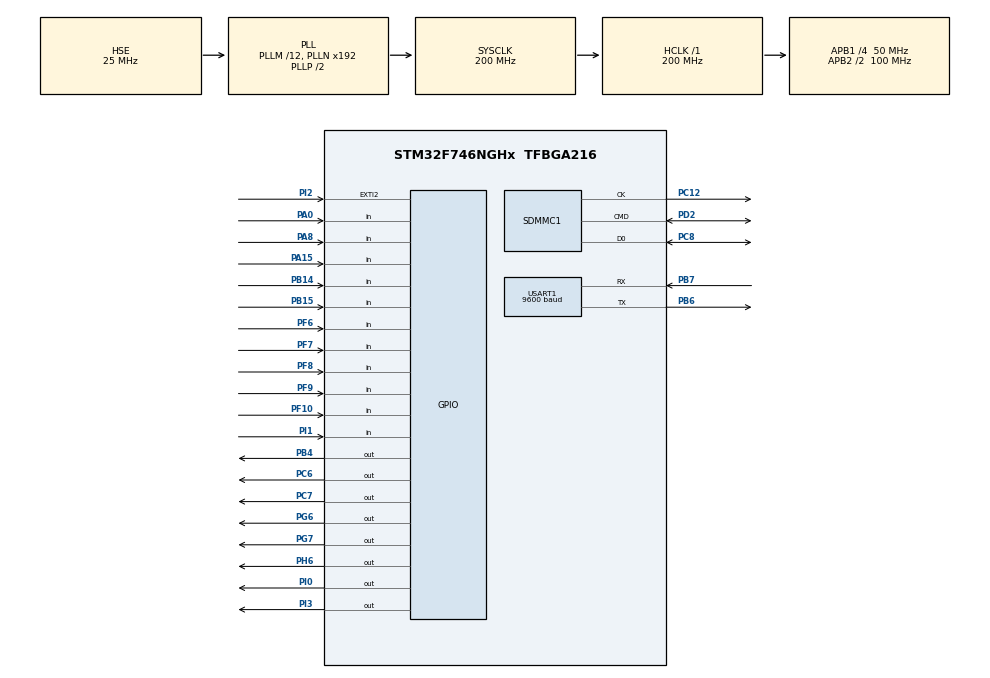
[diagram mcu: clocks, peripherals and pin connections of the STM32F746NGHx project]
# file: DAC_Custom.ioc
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Mcu.Family=STM32F7
RCC.CortexFreq_Value=200000000
FATFS._USE_LFN=2
PG6.Signal=GPIO_Output
VP_FATFS_VS_SDIO.Mode=SDIO
USART1.BaudRate=9600
PC12.Signal=SDMMC1_CK
CORTEX_M7.PREFETCH_ENABLE=1
PA0/WKUP.Signal=GPIO_Input
PB15.Signal=GPIO_Input
RCC.SYSCLKSource=RCC_SYSCLKSOURCE_PLLCLK
ProjectManager.StackSize=0x400
PF7.Signal=GPIO_Input
RCC.PLL48CLockSelection=RCC_CLK48SOURCE_PLLSAIP
PH0/OSC_IN.Mode=HSE-External-Oscillator
RCC.HCLKFreq_Value=200000000
RCC.APB2TimFreq_Value=200000000
PB6.Signal=USART1_TX
PC7.Signal=GPIO_Output
PB6.Mode=Asynchronous
PH1/OSC_OUT.Signal=RCC_OSC_OUT
RCC.AHBFreq_Value=200000000
RCC.HSE_VALUE=25000000
PA14.Mode=Serial_Wire
PI0.Signal=GPIO_Output
PI3.Signal=GPIO_Output
NVIC.TIM2_IRQn=true\:0\:0\:false\:false\:true\:true\:true
PB7.Signal=USART1_RX
PA8.Signal=GPIO_Input
PH1/OSC_OUT.Mode=HSE-External-Oscillator
Mcu.Package=TFBGA216
RCC.SDMMCClockSelection=RCC_SDMMC1CLKSOURCE_CLK48
TIM2.Prescaler=100
PA15.Signal=GPIO_Input
PF8.Signal=GPIO_Input
RCC.PLLSAIN=50
RCC.PLLSAIP=RCC_PLLSAIP_DIV4
RCC.PLLSAIR=5
TIM2.TIM_MasterOutputTrigger=TIM_TRGO_UPDATE
RCC.APB2CLKDivider=RCC_HCLK_DIV2
NVIC.EXTI2_IRQn=true\:0\:0\:false\:false\:true\:true\:true
RCC.APB1TimFreq_Value=100000000
NVIC.RCC_IRQn=true\:0\:0\:false\:false\:true\:true\:false
PB4.Signal=GPIO_Output
RCC.PLLSourceVirtual=RCC_PLLSOURCE_HSE
CORTEX_M7.CPU_ICache=Enabled
PG7.Signal=GPIO_Output
PC8.Signal=SDMMC1_D0
PC6.Signal=GPIO_Output
RCC.APB1CLKDivider=RCC_HCLK_DIV4
RCC.PLLSAIRDiv=RCC_PLLSAIDIVR_8
USART1.VirtualMode-Asynchronous=VM_ASYNC
PA13.Signal=SYS_JTMS-SWDIO
PF6.Signal=GPIO_Input
ProjectManager.TargetToolchain=STM32CubeIDE
CORTEX_M7.ART_ACCLERATOR_ENABLE=1
RCC.USBFreq_Value=26041666.666666664
RCC.LSE_VALUE=32768
PD2.Mode=SD_1_bit
PB14.Signal=GPIO_Input
PC12.Mode=SD_1_bit
board=STM32F746G-DISCO
RCC.VCOOutputFreq_Value=400000000
PH0/OSC_IN.Signal=RCC_OSC_IN
RCC.APB2Freq_Value=100000000
VP_TIM2_VS_ClockSourceINT.Mode=Internal
PF10.Signal=GPIO_Input
PI1.Signal=GPIO_Input
PI2.Signal=GPXTI2
TIM2.Period=124
PA13.Mode=Serial_Wire
Mcu.Name=STM32F746NGHx
PC8.Mode=SD_1_bit
RCC.SYSCLKFreq_VALUE=200000000
PB7.Mode=Asynchronous
PA14.Signal=SYS_JTCK-SWCLK
ProjectManager.HeapSize=0x200
PH6.Signal=GPIO_Output
RCC.HSI_VALUE=16000000
PF9.Signal=GPIO_Input
RCC.PLLQ=9
NVIC.PriorityGroup=NVIC_PRIORITYGROUP_4
RCC.PLLM=12
CORTEX_M7.CPU_DCache=Enabled
PD2.Signal=SDMMC1_CMD
RCC.APB1Freq_Value=50000000
RCC.PLLI2SN=100

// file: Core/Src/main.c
/* USER CODE BEGIN Header */
/**
  ******************************************************************************
  * @file           : main.c
  * @brief          : Main program body
  ******************************************************************************
  * @attention
  *
  * <h2><center>&copy; Copyright (c) 2021 STMicroelectronics.
  * All rights reserved.</center></h2>
  *
  * This software component is licensed by ST under Ultimate Liberty license
  * SLA0044, the "License"; You may not use this file except in compliance with
  * the License. You may obtain a copy of the License at:
  *                             www.st.com/SLA0044
  *
  ******************************************************************************
  */
/* USER CODE END Header */
#include "main.h"
#include "fatfs.h"

/* USER CODE BEGIN Includes */
#include "math.h"
/* USER CODE END Includes */

/* USER CODE BEGIN PM */

#define PI 3.1415926535

/* USER CODE END PM */

SD_HandleTypeDef hsd1;

TIM_HandleTypeDef htim2;

UART_HandleTypeDef huart1;

/* USER CODE BEGIN PV */

/*************************** SD CARD FILE OPERATION VARIABLES ****************************/

#define BUFF_SIZE  64000

FRESULT res;						// status variable for file operations
FATFS SDFatFs;						// file system mount variable
FIL myFile;							// file handle
uint8_t DATA_BUFFER[BUFF_SIZE];		// temporary data buffer to store file data
uint8_t AUDIO_BUFFER[BUFF_SIZE];	// circular audio buffer continuously playing audio

int AUDIO_PTR;						// pointer for audio buffer

unsigned int bytesRead;				// number of bytes that was read from a file

enum _bool{
	false=0,
	true=1
};
typedef enum _bool boolean;			// declared a boolean data type

char audio_filenames[36][8] = 		// filenames for binary audio files
{
	"C3.bin","C3s.bin","D3.bin","D3s.bin","E3.bin","F3.bin","F3s.bin","G3.bin","G3s.bin","A3.bin","A3s.bin","B3.bin",
	"C4.bin","C4s.bin","D4.bin","D4s.bin","E4.bin","F4.bin","F4s.bin","G4.bin","G4s.bin","A4.bin","A4s.bin","B4.bin",
	"c5.bin","C5s.bin","D5.bin","D5s.bin","E5.bin","F5.bin","F5s.bin","G5.bin","G5s.bin","A5.bin","A5s.bin","B5.bin"
};

/***************************** KEYBOARD PERPHERAL VARIABLES ******************************/

uint8_t DAC_REG;					// DAC register containing 8 bit audio samples to be output

uint32_t Fs = 8000;					// sampling frequency for note play-back

uint8_t key_ID[6], key_info[6];		// key_ID reads from Arduino DUE which key is pressed/released
									// key_info reads from Arduino DUE whether a key is pressed/released
uint8_t keypress;

/* USER CODE END PV */

void SystemClock_Config(void);
static void MX_GPIO_Init(void);
static void MX_TIM2_Init(void);
static void MX_USART1_UART_Init(void);
static void MX_SDMMC1_SD_Init(void);

/* USER CODE BEGIN 0 */

/******************************* SD CARD HANDLER FUNCTIONS *********************************/

void init_SD()
{
	res = BSP_SD_Init();				// initialize SD stuff
	res = f_mount(&SDFatFs, "", 1);		// mount the SD card
}

void read_BIN_AUDIO(int note)
{
	//res = f_open(&myFile, "c5.bin", FA_OPEN_ALWAYS|FA_WRITE|FA_READ);
	res = f_open(&myFile, audio_filenames[note], FA_OPEN_ALWAYS|FA_WRITE|FA_READ);
	res = f_read(&myFile, DATA_BUFFER, BUFF_SIZE, &bytesRead);
	f_close(&myFile);
}

void umount_SD()
{
	f_mount(0, "", 1);					// unmount the SD card
}

/***************************** KEYBOARD PERPHERAL FUNCTIONS ******************************/
/*
ARDUINO HEADERS ON STM32F746 DISCOVERY BOARD (used for 8 bit DAC)
pin7	PI3
pin6	PH6
pin5	PI0
pin4	PG7
pin3	PB4
pin2	PG6
pin1	PC6
pin0	PC7
*/

// this function reads DAC_REG and generates corresponding DC voltage level to the DAC
void DAC_OUTPUT(){
	HAL_GPIO_WritePin(GPIOI, GPIO_PIN_3, !!(DAC_REG & (1<<7)));
	HAL_GPIO_WritePin(GPIOH, GPIO_PIN_6, !!(DAC_REG & (1<<6)));
	HAL_GPIO_WritePin(GPIOI, GPIO_PIN_0, !!(DAC_REG & (1<<5)));
	HAL_GPIO_WritePin(GPIOG, GPIO_PIN_7, !!(DAC_REG & (1<<4)));
	HAL_GPIO_WritePin(GPIOB, GPIO_PIN_4, !!(DAC_REG & (1<<3)));
	HAL_GPIO_WritePin(GPIOG, GPIO_PIN_6, !!(DAC_REG & (1<<2)));
	HAL_GPIO_WritePin(GPIOC, GPIO_PIN_6, !!(DAC_REG & (1<<1)));
	HAL_GPIO_WritePin(GPIOC, GPIO_PIN_7, !!(DAC_REG & (1<<0)));
}

// starts at the current audio_pointer location and from there keeps adding values of data
// buffer to audio buffer for new tone.
void update_audio_buffer(){
	int idx_audio, idx_data;
	// int scaling_factor = 2;		// scaling factor to make sure value does not overflow
	idx_audio = AUDIO_PTR + 1;	// get current position of audio buffer pointer
	for (idx_data=0; idx_data<bytesRead; idx_data++){
		idx_audio = (idx_audio+1) % BUFF_SIZE;
		AUDIO_BUFFER[idx_audio]= DATA_BUFFER[idx_data];
	}
}

/*
Key ID data Pins	Information Pins
IDP[0] A0 PA0		INF[0] pin8 PI2
IDP[1] A1 PF10		INF[1] pin9 PA15
IDP[2] A2 PF9		INF[2] pin10 PA8
IDP[3] A3 PF8		INF[3] pin11 PB15
IDP[4] A4 PF7		INF[4] pin12 PB14
IDP[5] A5 PF6		INF[5] pin13 PI1
*/
// reads key press/release information from Arduino DUE
void keyboard_interrupt_handler(){
	key_ID[0] = HAL_GPIO_ReadPin(GPIOA, GPIO_PIN_0);
	key_ID[1] = HAL_GPIO_ReadPin(GPIOF, GPIO_PIN_10);
	key_ID[2] = HAL_GPIO_ReadPin(GPIOF, GPIO_PIN_9);
	key_ID[3] = HAL_GPIO_ReadPin(GPIOF, GPIO_PIN_8);
	key_ID[4] = HAL_GPIO_ReadPin(GPIOF, GPIO_PIN_7);
	key_ID[5] = HAL_GPIO_ReadPin(GPIOF, GPIO_PIN_6);

	keypress = (key_ID[5]<<5) + (key_ID[4]<<4) + (key_ID[3]<<3) + (key_ID[2]<<2) + (key_ID[1]<<1) + (key_ID[0]<<0);

//	key_info[0] = HAL_GPIO_ReadPin(GPIOI, GPIO_PIN_2);		// interrupt
//	key_info[1] = HAL_GPIO_ReadPin(GPIOA, GPIO_PIN_15);
//	key_info[2] = HAL_GPIO_ReadPin(GPIOA, GPIO_PIN_8);
//	key_info[3] = HAL_GPIO_ReadPin(GPIOB, GPIO_PIN_15);
//	key_info[4] = HAL_GPIO_ReadPin(GPIOB, GPIO_PIN_14);
//	key_info[5] = HAL_GPIO_ReadPin(GPIOI, GPIO_PIN_1);

	read_BIN_AUDIO(keypress);	// read the corresponding audio file from SD card and save to data buffer
	update_audio_buffer();		// add the tone to the audio buffer

}

/******************************* AUDIO HANDLER FUNCTIONS *********************************/

// initializing the audio buffer to all values = 127 (mid value of DAC)
void init_audio_buffer()
{
	int idx;
	for (idx=0; idx<BUFF_SIZE; idx++){
		AUDIO_BUFFER[idx] = 127;
	}
}

// Timer interrupt service routine, regularly reads a value from the audio
// buffer at the sampling frequency and outputs the sample via DAC
void HAL_TIM_PeriodElapsedCallback(TIM_HandleTypeDef *htim)
{
	AUDIO_PTR = (AUDIO_PTR+1) % BUFF_SIZE;

	DAC_REG = AUDIO_BUFFER[AUDIO_PTR];
	AUDIO_BUFFER[AUDIO_PTR] = 127;		// after reading a sample, reset it

	DAC_OUTPUT();
}

/* USER CODE END 0 */

int main(void)
{

  /* Enable I-Cache---------------------------------------------------------*/
  SCB_EnableICache();

  /* Enable D-Cache---------------------------------------------------------*/
  SCB_EnableDCache();

  /* MCU Configuration--------------------------------------------------------*/

  /* Reset of all peripherals, Initializes the Flash interface and the Systick. */
  HAL_Init();

  /* Configure the system clock */
  SystemClock_Config();

  /* Initialize all configured peripherals */
  MX_GPIO_Init();
  MX_TIM2_Init();
  MX_USART1_UART_Init();
  MX_SDMMC1_SD_Init();
  MX_FATFS_Init();
  /* USER CODE BEGIN 2 */

  init_audio_buffer();

  init_SD();
  // read_BIN_AUDIO(0);
  // umount_SD();

  HAL_TIM_Base_Start_IT(&htim2);	// initialize timer counter interrupt for audio sample rate

  /* USER CODE END 2 */

  /* Infinite loop */
  while (1)
  {

    /* USER CODE BEGIN 3 */
	  //keyboard_update();			// reads the keyboard input infinitely

  }
  /* USER CODE END 3 */
}

void SystemClock_Config(void)
{
  RCC_OscInitTypeDef RCC_OscInitStruct = {0};
  RCC_ClkInitTypeDef RCC_ClkInitStruct = {0};
  RCC_PeriphCLKInitTypeDef PeriphClkInitStruct = {0};

  /** Configure the main internal regulator output voltage
  */
  __HAL_RCC_PWR_CLK_ENABLE();
  __HAL_PWR_VOLTAGESCALING_CONFIG(PWR_REGULATOR_VOLTAGE_SCALE1);
  /** Initializes the RCC Oscillators according to the specified parameters
  * in the RCC_OscInitTypeDef structure.
  */
  RCC_OscInitStruct.OscillatorType = RCC_OSCILLATORTYPE_HSE;
  RCC_OscInitStruct.HSEState = RCC_HSE_ON;
  RCC_OscInitStruct.PLL.PLLState = RCC_PLL_ON;
  RCC_OscInitStruct.PLL.PLLSource = RCC_PLLSOURCE_HSE;
  RCC_OscInitStruct.PLL.PLLM = 12;
  RCC_OscInitStruct.PLL.PLLN = 192;
  RCC_OscInitStruct.PLL.PLLP = RCC_PLLP_DIV2;
  RCC_OscInitStruct.PLL.PLLQ = 9;
  if (HAL_RCC_OscConfig(&RCC_OscInitStruct) != HAL_OK)
  {
    Error_Handler();
  }
  /** Activate the Over-Drive mode
  */
  if (HAL_PWREx_EnableOverDrive() != HAL_OK)
  {
    Error_Handler();
  }
  /** Initializes the CPU, AHB and APB buses clocks
  */
  RCC_ClkInitStruct.ClockType = RCC_CLOCKTYPE_HCLK|RCC_CLOCKTYPE_SYSCLK
                              |RCC_CLOCKTYPE_PCLK1|RCC_CLOCKTYPE_PCLK2;
  RCC_ClkInitStruct.SYSCLKSource = RCC_SYSCLKSOURCE_PLLCLK;
  RCC_ClkInitStruct.AHBCLKDivider = RCC_SYSCLK_DIV1;
  RCC_ClkInitStruct.APB1CLKDivider = RCC_HCLK_DIV4;
  RCC_ClkInitStruct.APB2CLKDivider = RCC_HCLK_DIV2;

  if (HAL_RCC_ClockConfig(&RCC_ClkInitStruct, FLASH_LATENCY_6) != HAL_OK)
  {
    Error_Handler();
  }
  PeriphClkInitStruct.PeriphClockSelection = RCC_PERIPHCLK_USART1|RCC_PERIPHCLK_SDMMC1
                              |RCC_PERIPHCLK_CLK48;
  PeriphClkInitStruct.PLLSAI.PLLSAIN = 50;
  PeriphClkInitStruct.PLLSAI.PLLSAIR = 5;
  PeriphClkInitStruct.PLLSAI.PLLSAIQ = 2;
  PeriphClkInitStruct.PLLSAI.PLLSAIP = RCC_PLLSAIP_DIV4;
  PeriphClkInitStruct.PLLSAIDivQ = 1;
  PeriphClkInitStruct.PLLSAIDivR = RCC_PLLSAIDIVR_8;
  PeriphClkInitStruct.Usart1ClockSelection = RCC_USART1CLKSOURCE_PCLK2;
  PeriphClkInitStruct.Clk48ClockSelection = RCC_CLK48SOURCE_PLLSAIP;
  PeriphClkInitStruct.Sdmmc1ClockSelection = RCC_SDMMC1CLKSOURCE_CLK48;
  if (HAL_RCCEx_PeriphCLKConfig(&PeriphClkInitStruct) != HAL_OK)
  {
    Error_Handler();
  }
}

static void MX_SDMMC1_SD_Init(void)
{

  hsd1.Instance = SDMMC1;
  hsd1.Init.ClockEdge = SDMMC_CLOCK_EDGE_RISING;
  hsd1.Init.ClockBypass = SDMMC_CLOCK_BYPASS_DISABLE;
  hsd1.Init.ClockPowerSave = SDMMC_CLOCK_POWER_SAVE_DISABLE;
  hsd1.Init.BusWide = SDMMC_BUS_WIDE_1B;
  hsd1.Init.HardwareFlowControl = SDMMC_HARDWARE_FLOW_CONTROL_DISABLE;
  hsd1.Init.ClockDiv = 0;

}

static void MX_TIM2_Init(void)
{

  TIM_ClockConfigTypeDef sClockSourceConfig = {0};
  TIM_MasterConfigTypeDef sMasterConfig = {0};

  htim2.Instance = TIM2;
  htim2.Init.Prescaler = 100;
  htim2.Init.CounterMode = TIM_COUNTERMODE_UP;
  htim2.Init.Period = 124;
  htim2.Init.ClockDivision = TIM_CLOCKDIVISION_DIV1;
  htim2.Init.AutoReloadPreload = TIM_AUTORELOAD_PRELOAD_DISABLE;
  if (HAL_TIM_Base_Init(&htim2) != HAL_OK)
  {
    Error_Handler();
  }
  sClockSourceConfig.ClockSource = TIM_CLOCKSOURCE_INTERNAL;
  if (HAL_TIM_ConfigClockSource(&htim2, &sClockSourceConfig) != HAL_OK)
  {
    Error_Handler();
  }
  sMasterConfig.MasterOutputTrigger = TIM_TRGO_UPDATE;
  sMasterConfig.MasterSlaveMode = TIM_MASTERSLAVEMODE_DISABLE;
  if (HAL_TIMEx_MasterConfigSynchronization(&htim2, &sMasterConfig) != HAL_OK)
  {
    Error_Handler();
  }

}

static void MX_USART1_UART_Init(void)
{

  huart1.Instance = USART1;
  huart1.Init.BaudRate = 9600;
  huart1.Init.WordLength = UART_WORDLENGTH_8B;
  huart1.Init.StopBits = UART_STOPBITS_1;
  huart1.Init.Parity = UART_PARITY_NONE;
  huart1.Init.Mode = UART_MODE_TX_RX;
  huart1.Init.HwFlowCtl = UART_HWCONTROL_NONE;
  huart1.Init.OverSampling = UART_OVERSAMPLING_16;
  huart1.Init.OneBitSampling = UART_ONE_BIT_SAMPLE_DISABLE;
  huart1.AdvancedInit.AdvFeatureInit = UART_ADVFEATURE_NO_INIT;
  if (HAL_UART_Init(&huart1) != HAL_OK)
  {
    Error_Handler();
  }

}

static void MX_GPIO_Init(void)
{
  GPIO_InitTypeDef GPIO_InitStruct = {0};

  /* GPIO Ports Clock Enable */
  __HAL_RCC_GPIOB_CLK_ENABLE();
  __HAL_RCC_GPIOC_CLK_ENABLE();
  __HAL_RCC_GPIOA_CLK_ENABLE();
  __HAL_RCC_GPIOI_CLK_ENABLE();
  __HAL_RCC_GPIOD_CLK_ENABLE();
  __HAL_RCC_GPIOH_CLK_ENABLE();
  __HAL_RCC_GPIOG_CLK_ENABLE();
  __HAL_RCC_GPIOF_CLK_ENABLE();

  /*Configure GPIO pin Output Level */
  HAL_GPIO_WritePin(GPIOB, GPIO_PIN_4, GPIO_PIN_RESET);

  /*Configure GPIO pin Output Level */
  HAL_GPIO_WritePin(GPIOI, GPIO_PIN_3|GPIO_PIN_0, GPIO_PIN_RESET);

  /*Configure GPIO pin Output Level */
  HAL_GPIO_WritePin(GPIOC, GPIO_PIN_7|GPIO_PIN_6, GPIO_PIN_RESET);

  /*Configure GPIO pin Output Level */
  HAL_GPIO_WritePin(GPIOG, GPIO_PIN_7|GPIO_PIN_6, GPIO_PIN_RESET);

  /*Configure GPIO pin Output Level */
  HAL_GPIO_WritePin(GPIOH, GPIO_PIN_6, GPIO_PIN_RESET);

  /*Configure GPIO pin : PB4 */
  GPIO_InitStruct.Pin = GPIO_PIN_4;
  GPIO_InitStruct.Mode = GPIO_MODE_OUTPUT_PP;
  GPIO_InitStruct.Pull = GPIO_NOPULL;
  GPIO_InitStruct.Speed = GPIO_SPEED_FREQ_LOW;
  HAL_GPIO_Init(GPIOB, &GPIO_InitStruct);

  /*Configure GPIO pins : PA15 PA8 PA0 */
  GPIO_InitStruct.Pin = GPIO_PIN_15|GPIO_PIN_8|GPIO_PIN_0;
  GPIO_InitStruct.Mode = GPIO_MODE_INPUT;
  GPIO_InitStruct.Pull = GPIO_NOPULL;
  HAL_GPIO_Init(GPIOA, &GPIO_InitStruct);

  /*Configure GPIO pins : PI3 PI0 */
  GPIO_InitStruct.Pin = GPIO_PIN_3|GPIO_PIN_0;
  GPIO_InitStruct.Mode = GPIO_MODE_OUTPUT_PP;
  GPIO_InitStruct.Pull = GPIO_NOPULL;
  GPIO_InitStruct.Speed = GPIO_SPEED_FREQ_LOW;
  HAL_GPIO_Init(GPIOI, &GPIO_InitStruct);

  /*Configure GPIO pin : PI2 */
  GPIO_InitStruct.Pin = GPIO_PIN_2;
  GPIO_InitStruct.Mode = GPIO_MODE_IT_RISING;
  GPIO_InitStruct.Pull = GPIO_NOPULL;
  HAL_GPIO_Init(GPIOI, &GPIO_InitStruct);

  /*Configure GPIO pin : PI1 */
  GPIO_InitStruct.Pin = GPIO_PIN_1;
  GPIO_InitStruct.Mode = GPIO_MODE_INPUT;
  GPIO_InitStruct.Pull = GPIO_NOPULL;
  HAL_GPIO_Init(GPIOI, &GPIO_InitStruct);

  /*Configure GPIO pins : PC7 PC6 */
  GPIO_InitStruct.Pin = GPIO_PIN_7|GPIO_PIN_6;
  GPIO_InitStruct.Mode = GPIO_MODE_OUTPUT_PP;
  GPIO_InitStruct.Pull = GPIO_NOPULL;
  GPIO_InitStruct.Speed = GPIO_SPEED_FREQ_LOW;
  HAL_GPIO_Init(GPIOC, &GPIO_InitStruct);

  /*Configure GPIO pins : PG7 PG6 */
  GPIO_InitStruct.Pin = GPIO_PIN_7|GPIO_PIN_6;
  GPIO_InitStruct.Mode = GPIO_MODE_OUTPUT_PP;
  GPIO_InitStruct.Pull = GPIO_NOPULL;
  GPIO_InitStruct.Speed = GPIO_SPEED_FREQ_LOW;
  HAL_GPIO_Init(GPIOG, &GPIO_InitStruct);

  /*Configure GPIO pins : PF7 PF6 PF10 PF9
                           PF8 */
  GPIO_InitStruct.Pin = GPIO_PIN_7|GPIO_PIN_6|GPIO_PIN_10|GPIO_PIN_9
                          |GPIO_PIN_8;
  GPIO_InitStruct.Mode = GPIO_MODE_INPUT;
  GPIO_InitStruct.Pull = GPIO_NOPULL;
  HAL_GPIO_Init(GPIOF, &GPIO_InitStruct);

  /*Configure GPIO pin : PH6 */
  GPIO_InitStruct.Pin = GPIO_PIN_6;
  GPIO_InitStruct.Mode = GPIO_MODE_OUTPUT_PP;
  GPIO_InitStruct.Pull = GPIO_NOPULL;
  GPIO_InitStruct.Speed = GPIO_SPEED_FREQ_LOW;
  HAL_GPIO_Init(GPIOH, &GPIO_InitStruct);

  /*Configure GPIO pins : PB14 PB15 */
  GPIO_InitStruct.Pin = GPIO_PIN_14|GPIO_PIN_15;
  GPIO_InitStruct.Mode = GPIO_MODE_INPUT;
  GPIO_InitStruct.Pull = GPIO_NOPULL;
  HAL_GPIO_Init(GPIOB, &GPIO_InitStruct);

  /* EXTI interrupt init*/
  HAL_NVIC_SetPriority(EXTI2_IRQn, 0, 0);
  HAL_NVIC_EnableIRQ(EXTI2_IRQn);

}

void Error_Handler(void)
{
  __disable_irq();
  while (1)
  {
  }
}

/************************ (C) COPYRIGHT STMicroelectronics *****END OF FILE****/
